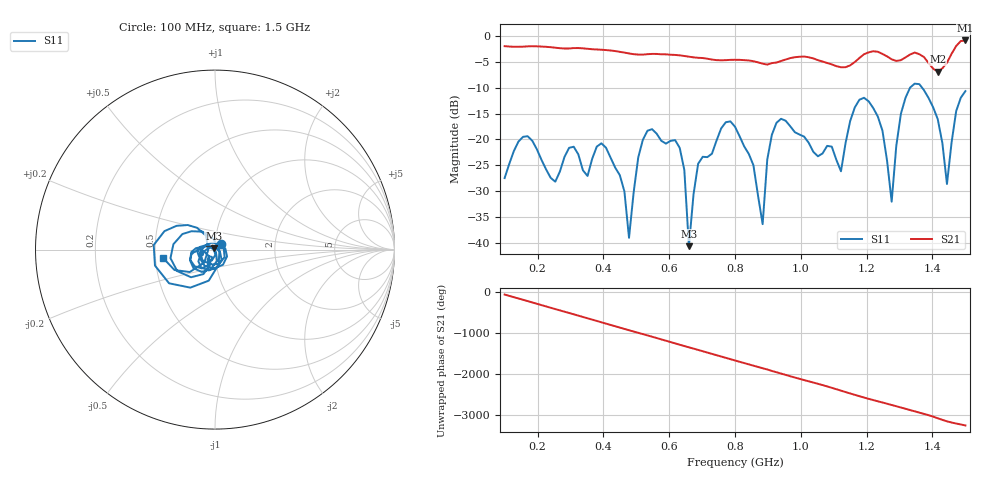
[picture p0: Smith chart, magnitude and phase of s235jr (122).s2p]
! NanoVNA-App
! Date: 2025-09-25 15:05:07
! Start: 100MHz Stop: 1,5GHz Points: 101
! S-Parameter data: F S11 S21 S12 S22
# Hz S RI R 50
!  Frequency  S11_Real  S11_Imag  S21_Real  S21_Imag  S12_Real  S12_Imag  S22_Real  S22_Imag
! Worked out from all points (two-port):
!   101 points, 100 MHz to 1.5 GHz, reference 50 ohm
!   highest |S21| = -0.86 dB at 1.5 GHz (marker M1); lowest = -6.9 dB at 1.416 GHz (marker M2)
!   |S21| within 3 dB of the highest: start of sweep to 645.4 MHz; 1.186 GHz to 1.26 GHz (74.1 MHz wide, 6.06 % of centre) (the widest 2 of 4)
!   lowest |S11| = -40.6 dB at 660 MHz (marker M3), VSWR 1.02, Z = 49.3 + j0.607 ohm
!   |S11| at or under -10 dB: start of sweep to 1.332 GHz; 1.368 GHz to end of sweep
!   S12 and S22 are empty: the file has one direction only
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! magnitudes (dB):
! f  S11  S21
! 100 MHz  -27.5  -2.0
! 170 MHz  -19.4  -2.0
! 338 MHz  -26.0  -2.4
! 408 MHz  -21.6  -2.7
! 478 MHz  -39.0  -3.4
! 520 MHz  -20.1  -3.6
! 576 MHz  -20.3  -3.5
! 632 MHz  -21.6  -3.7
! 660 MHz  -40.6  -4.0
! 688 MHz  -24.7  -4.2
! 800 MHz  -17.5  -4.6
! 884 MHz  -36.4  -5.3
! 926 MHz  -16.8  -5.1
! 1.038 GHz  -22.4  -4.3
! 1.122 GHz  -26.2  -6.0
! 1.192 GHz  -11.9  -3.5
! 1.248 GHz  -18.3  -3.5
! 1.276 GHz  -32.0  -4.5
! 1.332 GHz  -10.0  -3.6
! 1.416 GHz  -16.1  -6.9
! 1.444 GHz  -28.6  -5.2
! 1.5 GHz  -10.7  -0.9
